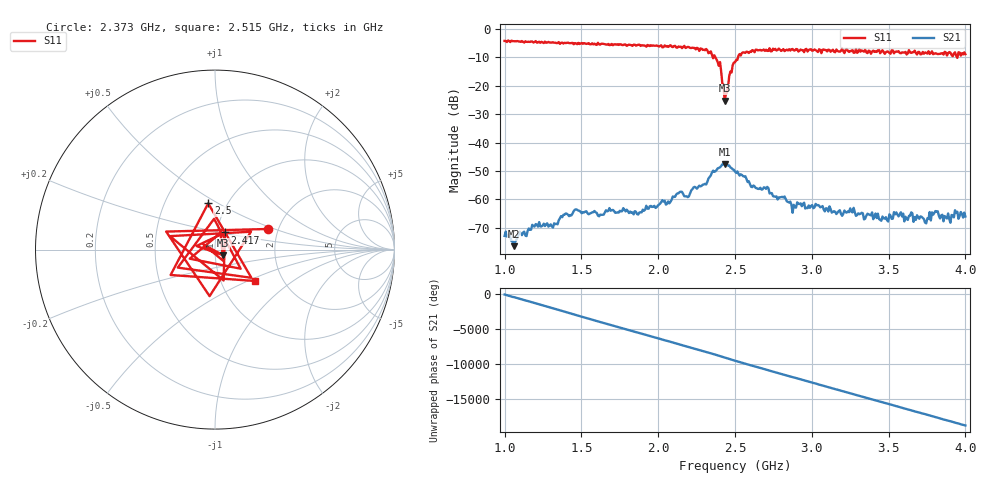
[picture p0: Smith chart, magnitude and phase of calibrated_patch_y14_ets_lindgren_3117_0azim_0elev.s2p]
#  HZ  S  RI  R  50.00
! Rohde & Schwarz ZVA50 2Ports - Version 3.90 - 1145.1110k50 SN: 100234
! Date: 2026-03-02 11:06:07
! Measurements: S11 S21 S12 S22
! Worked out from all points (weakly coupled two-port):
!   401 points, 1 GHz to 4 GHz, reference 50 ohm
!   highest |S21| = -47.62 dB at 2.433 GHz (marker M1); lowest = -76.4 dB at 1.06 GHz (marker M2)
!   lowest |S11| = -25.3 dB at 2.433 GHz (marker M3), VSWR 1.12, Z = 54.6 - j3.4 ohm
!   |S11| at or under -10 dB: 2.355778 GHz to 2.35958 GHz (3.802 MHz wide, 0.161 % of centre); 2.372 GHz to 2.52 GHz (147.2 MHz wide, 6.02 % of centre); 3.945844 GHz to 3.948108 GHz (2.264 MHz wide, 0.0574 % of centre)
!   S12 and S22 are empty: the file has one direction only
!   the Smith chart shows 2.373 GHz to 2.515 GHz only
!   S11 on the Smith chart (normalised r, x): 2.373 GHz: 1.76, +0.45; 2.417 GHz: 1.10, +0.21; 2.5 GHz: 0.82, +0.45; 2.515 GHz: 1.45, -0.55
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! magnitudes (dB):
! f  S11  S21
! 1 GHz  -4.2  -72.8
! 1.06 GHz  -4.3  -76.4
! 1.195 GHz  -4.6  -69.5
! 1.3 GHz  -4.8  -68.8
! 1.502 GHz  -4.9  -64.8
! 1.877 GHz  -5.5  -64.6
! 2.005 GHz  -6.2  -61.8
! 2.14 GHz  -6.3  -57.4
! 2.192 GHz  -6.3  -59.2
! 2.373 GHz  -10.0  -50.1
! 2.395 GHz  -13.0  -48.9
! 2.417 GHz  -19.1  -47.6
! 2.433 GHz  -25.3  -47.6
! 2.447 GHz  -22.2  -47.6
! 2.5 GHz  -11.7  -50.2
! 2.515 GHz  -10.9  -50.1
! 2.627 GHz  -8.2  -55.4
! 2.703 GHz  -7.3  -56.3
! 2.882 GHz  -7.5  -61.9
! 3.002 GHz  -7.6  -62.0
! 3.505 GHz  -8.4  -65.2
! 4 GHz  -8.9  -66.0
